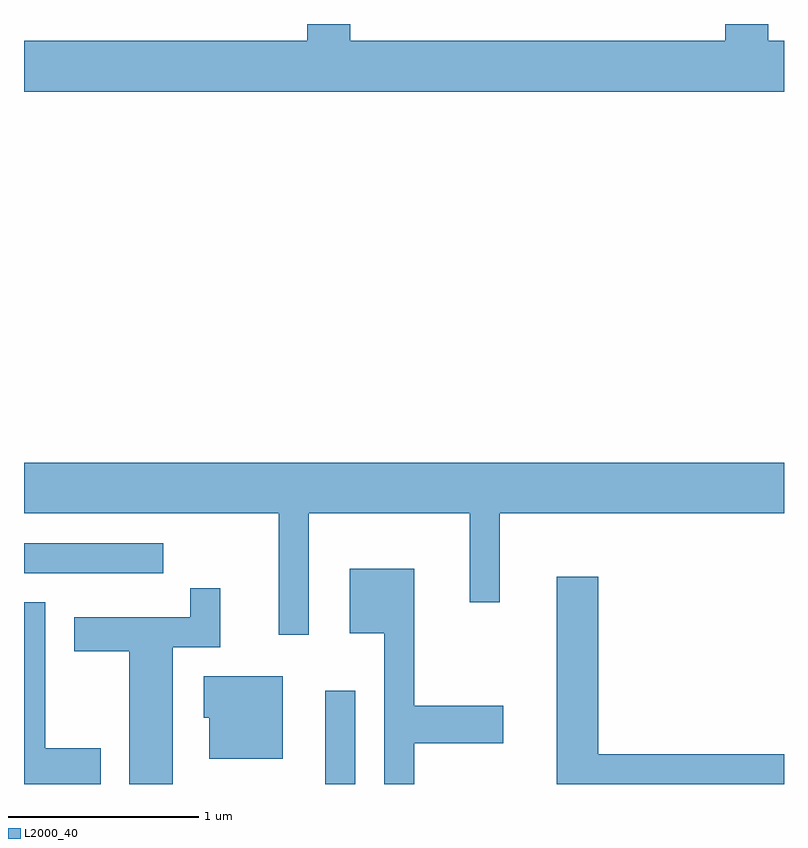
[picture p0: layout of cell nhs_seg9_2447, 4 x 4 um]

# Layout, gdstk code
import gdstk
lib = gdstk.Library(unit=1e-6, precision=1e-09)
def R(c, l, rs):  # rectangles x0, y0, x1, y1
    for r in rs: c.add(gdstk.rectangle(r[:2], r[2:], *l))
def P(c, l, *ps):  # polygons
    for p in ps: c.add(gdstk.Polygon(p, *l))
L2000_40 = (2000, 40)

nhs_seg9_2447 = lib.new_cell('nhs_seg9_2447')
R(nhs_seg9_2447, L2000_40, [(259.196,1950.432,259.354,1950.923), (257.611,1951.541,258.343,1951.699)])
P(nhs_seg9_2447, L2000_40, [(261.611,1954.344),(261.529,1954.344),(261.529,1954.432),(261.301,1954.432),(261.301,1954.344),(259.329,1954.344),(259.329,1954.432),(259.101,1954.432),(259.101,1954.344),(257.611,1954.344),(257.611,1954.076),(261.611,1954.076)],
  [(259.109,1951.856),(259.956,1951.856),(259.956,1951.388),(260.114,1951.388),(260.114,1951.856),(261.611,1951.856),(261.611,1952.124),(257.611,1952.124),(257.611,1951.856),(258.951,1951.856),(258.951,1951.218),(259.109,1951.218)],
  [(259.664,1950.646),(260.134,1950.646),(260.134,1950.844),(259.664,1950.844),(259.664,1951.564),(259.326,1951.564),(259.326,1951.226),(259.506,1951.226),(259.506,1950.432),(259.664,1950.432)],
  [(261.611,1950.589),(260.634,1950.589),(260.634,1951.524),(260.416,1951.524),(260.416,1950.432),(261.611,1950.432)],
  [(258.394,1951.151),(258.644,1951.151),(258.644,1951.463),(258.486,1951.463),(258.486,1951.309),(257.876,1951.309),(257.876,1951.131),(258.166,1951.131),(258.166,1950.432),(258.394,1950.432)],
  [(258.014,1950.619),(257.724,1950.619),(257.724,1951.389),(257.611,1951.389),(257.611,1950.432),(258.014,1950.432)],
  [(258.974,1950.999),(258.556,1950.999),(258.556,1950.781),(258.586,1950.781),(258.586,1950.566),(258.974,1950.566)])

lib.write_gds('nhs_seg9_2447.gds')
